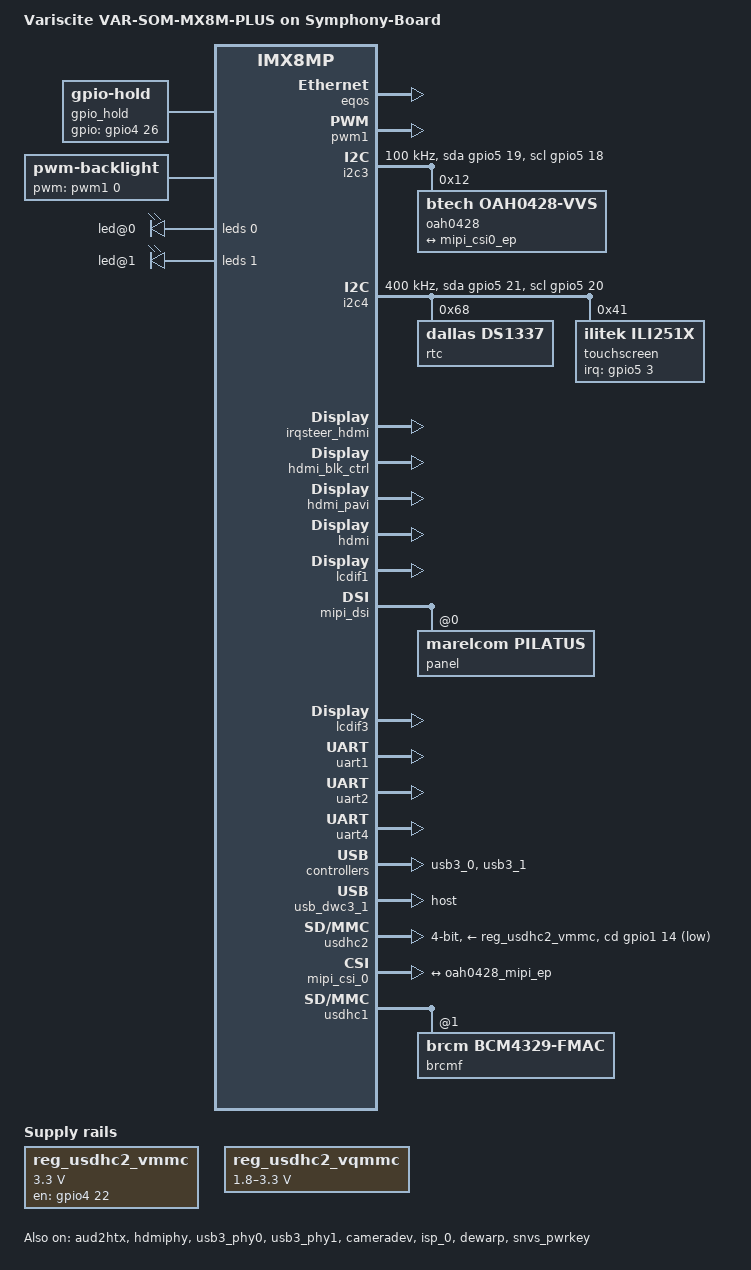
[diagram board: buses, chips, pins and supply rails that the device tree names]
// SPDX-License-Identifier: (GPL-2.0+ OR MIT)
/*
 * Copyright 2019 NXP
 * Copyright 2020-2021 Variscite Ltd.
 */

#include <dt-bindings/leds/common.h>
#include "imx8mp-var-som.dtsi"
#include "imx8mp-nxp-display.dtsi"
#include "imx8mp-nxp-capture.dtsi"

/ {
	model = "Variscite VAR-SOM-MX8M-PLUS on Symphony-Board";
	compatible = "variscite,var-som-mx8mp", "fsl,imx8mp";

	chosen {
		stdout-path = &uart2;
	};

	reg_usdhc2_vmmc: regulator-usdhc2-vmmc {
		compatible = "regulator-fixed";
		regulator-name = "VSD_3V3";
		regulator-min-microvolt = <3300000>;
		regulator-max-microvolt = <3300000>;
		gpio = <&gpio4 22 GPIO_ACTIVE_HIGH>;
		enable-active-high;
		startup-delay-us = <100>;
		off-on-delay-us = <12000>;
	};

	reg_usdhc2_vqmmc: regulator-usdhc2-vqmmc {
		compatible = "regulator-gpio";
		regulator-name = "VSD_VSEL";
		regulator-min-microvolt = <1800000>;
		regulator-max-microvolt = <3300000>;
		gpio = <&gpio2 12 GPIO_ACTIVE_HIGH>;
		gpios-states = <1>;
		states = <3300000 0
			  1800000 1>;
	};

  gpio_hold: gpio-hold {
    compatible = "gpio-hold";
    pinctrl-names = "default";
    pinctrl-0 = <&pinctrl_hold>;
    gpio = <&gpio4 26 GPIO_ACTIVE_HIGH>;
    status = "okay";
  };

  
	backlight: backlight {
		compatible = "pwm-backlight";
		pwms = <&pwm1 0 10000 0>;
		status = "okay";

		brightness-levels = < 0  1  2  3  4  5  6  7  8  9
				     10 11 12 13 14 15 16 17 18 19
				     20 21 22 23 24 25 26 27 28 29
				     30 31 32 33 34 35 36 37 38 39
				     40 41 42 43 44 45 46 47 48 49
				     50 51 52 53 54 55 56 57 58 59
				     60 61 62 63 64 65 66 67 68 69
				     70 71 72 73 74 75 76 77 78 79
				     80 81 82 83 84 85 86 87 88 89
				     90 91 92 93 94 95 96 97 98 99
				    100>;
		default-brightness-level = <80>;
	};

};

/*
 * NVCC_SD2 (LDO5) also powers the SD2_WP pad, which is GPIO2_IO20 and
 * switches the Ethernet PHY supply (reg_phy_supply). Without a consumer
 * the regulator core turns LDO5 off 30s after boot, cutting the PHY.
 */
&ldo5 {
	regulator-always-on;
	regulator-boot-on;
};

&eqos {
	status = "disabled";
};

&snvs_rtc {
	status = "disabled";
};

&aud2htx {
	status = "okay";
};

&pwm1 {
	pinctrl-names = "default";
	pinctrl-0 = <&pinctrl_pwm1>;
	status = "okay";
};

&flexspi {
	pinctrl-names = "default";
	pinctrl-0 = <&pinctrl_flexspi0>;
	status = "disabled";
};

&i2c3 {
	clock-frequency = <100000>;
	pinctrl-names = "default", "gpio";
	pinctrl-0 = <&pinctrl_i2c3>;
	pinctrl-1 = <&pinctrl_i2c3_gpio>;
	scl-gpios = <&gpio5 18 GPIO_ACTIVE_HIGH>;
	sda-gpios = <&gpio5 19 GPIO_ACTIVE_HIGH>;
	status = "okay";


  oah0428: oah0428@12 { //@036
		compatible = "btech,oah0428-vvs";
		/* compatible = "btech,oah0428"; */
		reg = <0x12>; //0x36
		clocks = <&clk IMX8MP_CLK_IPP_DO_CLKO2>;
		clock-names = "csi_mclk";
		csi_id = <0>;
		mclk = <24000000>;
		mclk_source = <0>;
		mipi_csi;
		status = "okay";

		port {
			oah0428_mipi_ep: endpoint {
				remote-endpoint = <&mipi_csi0_ep>;
				data-lanes = <1 2>;
				clock-lanes = <0>;

			};
		};
	};


};


&i2c4 {
	clock-frequency = <400000>;
	pinctrl-names = "default", "gpio";
	pinctrl-0 = <&pinctrl_i2c4>;
	pinctrl-1 = <&pinctrl_i2c4_gpio>;
	scl-gpios = <&gpio5 20 GPIO_ACTIVE_HIGH>;
	sda-gpios = <&gpio5 21 GPIO_ACTIVE_HIGH>;
	status = "okay";

	/* DS1337 RTC module */
	rtc@68 {
		compatible = "dallas,ds1337";
		reg = <0x68>;
		status = "okay";
	};

	touchscreen@41 {
		compatible = "ilitek,ili251x";
		reg = <0x41>;
		pinctrl-0 = <&pinctrl_captouch>;
		interrupt-parent = <&gpio5>;
		interrupts = <3 IRQ_TYPE_EDGE_FALLING>;
    touchscreen-swapped-x-y;
    touchscreen-inverted-y;
	};
};


&irqsteer_hdmi {
	status = "okay";
};

&hdmi_blk_ctrl {
	status = "okay";
};

&hdmi_pavi {
	status = "okay";
};

&hdmi {
	status = "okay";
};

&hdmiphy {
	status = "okay";
};

/* MIPI-DSI */
&lcdif1 {
	status = "okay";
};

&mipi_dsi {
	status = "okay";
	panel@0 {
	
		compatible = "marelcom,pilatus";
		reg = <0>;
		dsi-lanes = <4>;
		video-mode = <2>;	/* 0: burst mode
					 * 1: non-burst mode with sync event
					 * 2: non-burst mode with sync pulse
					 */
		/*no-init*;*/
		status = "okay";
	};
};

/* LVDS */
&lcdif2 {
	status = "disabled";
};

&ldb {
	status = "disabled";
};

&ldb_phy {
	status = "disabled";
};

/* HDMI */
&lcdif3 {
	status = "okay";
	thres-low  = <1 2>;	/* (FIFO * 1 / 2) */
	thres-high = <3 4>;	/* (FIFO * 3 / 4) */
};

/* Header */
&uart1 {
	pinctrl-names = "default";
	pinctrl-0 = <&pinctrl_uart1>;
	status = "okay";
};

/* Console */
&uart2 {
	pinctrl-names = "default";
	pinctrl-0 = <&pinctrl_uart2>;
	status = "okay";
};

/* Header */
&uart4 {
	pinctrl-names = "default";
	pinctrl-0 = <&pinctrl_uart4>;
	status = "okay";
};

&usb3_phy0 {
	fsl,phy-tx-vref-tune = <0xe>;
	fsl,phy-tx-preemp-amp-tune = <3>;
	fsl,phy-tx-vboost-level = <5>;
	fsl,phy-comp-dis-tune = <7>;
	fsl,pcs-tx-deemph-3p5db = <0x21>;
	fsl,phy-pcs-tx-swing-full = <0x7f>;
	status = "okay";
};

&usb3_0 {
	status = "okay";
};


&usb3_phy1 {
	fsl,phy-tx-preemp-amp-tune = <3>;
	fsl,phy-tx-vref-tune = <0xb>;
	status = "okay";
};

&usb3_1 {
	status = "okay";
};

&usb_dwc3_1 {
	dr_mode = "host";
	status = "okay";
};

&usdhc2 {
	pinctrl-names = "default", "state_100mhz", "state_200mhz";
	pinctrl-0 = <&pinctrl_usdhc2>, <&pinctrl_usdhc2_gpio>;
	pinctrl-1 = <&pinctrl_usdhc2_100mhz>, <&pinctrl_usdhc2_gpio>;
	pinctrl-2 = <&pinctrl_usdhc2_200mhz>, <&pinctrl_usdhc2_gpio>;
	cd-gpios = <&gpio1 14 GPIO_ACTIVE_LOW>;
	vmmc-supply = <&reg_usdhc2_vmmc>;
	vqmmc-supply = <&reg_usdhc2_vqmmc>;
	bus-width = <4>;
	status = "okay";
};

&mipi_csi_0 {
	#address-cells = <1>;
	#size-cells = <0>;
	status = "okay";

	port@0 {
		reg = <0>;
		mipi_csi0_ep: endpoint {
			remote-endpoint = <&oah0428_mipi_ep>;
			data-lanes = <2>;
			csis-hs-settle = <13>;
			csis-clk-settle = <2>;
			csis-wclk;
		};
	};
};

&mipi_csi_1 {
	status = "disabled";
};

&cameradev {
	status = "okay";
};

&isi_0 {
	status = "disabled";

	/* cap_device { */
	/* 	status = "okay"; */
	/* }; */
	/**/
	/* m2m_device { */
	/* 	status = "disabled"; */
	/* }; */
};

&isp_0 {
	status = "okay";
};

&isi_1 {
	status = "disabled";
};

&dewarp {
	status = "okay";
};


&bluetooth_iw61x {
	status = "disabled";
};

&iw61x_pwrseq {
	status = "disabled";
};

/* WIFI */
&usdhc1 {
	#address-cells = <1>;
	#size-cells = <0>;
	mmc-pwrseq = <>;

	brcmf: bcrmf@1 {
		reg = <1>;
		compatible = "brcm,bcm4329-fmac";
		laird,regdomain = "US";
	};
};

&eqos {
	status = "okay";
};

&ethphy0 {
	leds {
		#address-cells = <1>;
		#size-cells = <0>;

		led@0 {
			reg = <0>;
			color = <LED_COLOR_ID_YELLOW>;
			function = LED_FUNCTION_LAN;
			linux,default-trigger = "netdev";
		};

		led@1 {
			reg = <1>;
			color = <LED_COLOR_ID_GREEN>;
			function = LED_FUNCTION_LAN;
			linux,default-trigger = "netdev";
		};
	};
};



&iomuxc {
	pinctrl-names = "default";
	pinctrl-0 = <&pinctrl_hog>;

	pinctrl_hog: hoggrp {
		fsl,pins = <
			MX8MP_IOMUXC_GPIO1_IO13__GPIO1_IO13		0x19 /* CAM_ON 1350 */
			MX8MP_IOMUXC_GPIO1_IO11__GPIO1_IO11		0x19 /* LOOP_RUN */
      MX8MP_IOMUXC_GPIO1_IO05__GPIO1_IO05		0x19 /* FPD_PDB */
			MX8MP_IOMUXC_GPIO1_IO06__GPIO1_IO06		0x19 /* 100 DegreeC */
			MX8MP_IOMUXC_SAI2_RXFS__GPIO4_IO21		0x19 /* #SLEEP */
			MX8MP_IOMUXC_ECSPI2_SS0__GPIO5_IO13		0x19 /* #PB_KEY */
			MX8MP_IOMUXC_ECSPI2_SCLK__GPIO5_IO10		0x159 /* #HW_ID0 */
			MX8MP_IOMUXC_ECSPI2_MOSI__GPIO5_IO11		0x159 /* #HW_ID1 */
			MX8MP_IOMUXC_GPIO1_IO01__GPIO1_IO01		0x159 /* #BTOR*/
			MX8MP_IOMUXC_HDMI_DDC_SCL__HDMIMIX_HDMI_SCL			0x400001c2
			MX8MP_IOMUXC_HDMI_DDC_SDA__HDMIMIX_HDMI_SDA			0x400001c2
			MX8MP_IOMUXC_HDMI_HPD__HDMIMIX_HDMI_HPD				0x40000010
			MX8MP_IOMUXC_HDMI_CEC__HDMIMIX_HDMI_CEC				0x40000010
		>;
	};
  
	pinctrl_hold: holdgrp {
		fsl,pins = <
			MX8MP_IOMUXC_SAI2_TXD0__GPIO4_IO26				0x19
		>;
	};

	pinctrl_fuel_gauge: fuelgaugegrp {
		fsl,pins = <
			/* CHRG_INT */
			MX8MP_IOMUXC_SAI2_RXD0__GPIO4_IO23	0x80
		>;
	};

	pinctrl_charger_in: chargeringrp {
		fsl,pins = <
			/* CHRG_INT */
			MX8MP_IOMUXC_SAI2_TXFS__GPIO4_IO24	0x80
		>;
	};

	pinctrl_pwm1: pwm1grp {
		fsl,pins = <
			MX8MP_IOMUXC_SPDIF_EXT_CLK__PWM1_OUT				0x116
		>;
	};

	pinctrl_flexspi0: flexspi0grp {
		fsl,pins = <
			MX8MP_IOMUXC_NAND_ALE__FLEXSPI_A_SCLK				0x1c2
			MX8MP_IOMUXC_NAND_CE0_B__FLEXSPI_A_SS0_B			0x82
			MX8MP_IOMUXC_NAND_DATA00__FLEXSPI_A_DATA00			0x82
			MX8MP_IOMUXC_NAND_DATA01__FLEXSPI_A_DATA01			0x82
			MX8MP_IOMUXC_NAND_DATA02__FLEXSPI_A_DATA02			0x82
			MX8MP_IOMUXC_NAND_DATA03__FLEXSPI_A_DATA03			0x82
		>;
	};

	pinctrl_i2c3: i2c3grp {
		fsl,pins = <
			MX8MP_IOMUXC_I2C3_SCL__I2C3_SCL					0x400001c2
			MX8MP_IOMUXC_I2C3_SDA__I2C3_SDA					0x400001c2
		>;
	};

	pinctrl_i2c4: i2c4grp {
		fsl,pins = <
			MX8MP_IOMUXC_I2C4_SCL__I2C4_SCL					0x400001c2
			MX8MP_IOMUXC_I2C4_SDA__I2C4_SDA					0x400001c2
		>;
	};

	pinctrl_i2c3_gpio: i2c3gpiogrp {
		fsl,pins = <
			MX8MP_IOMUXC_I2C3_SCL__GPIO5_IO18				0x1c2
			MX8MP_IOMUXC_I2C3_SDA__GPIO5_IO19				0x1c2
		>;
	};

	pinctrl_i2c4_gpio: i2c4gpiogrp {
		fsl,pins = <
			MX8MP_IOMUXC_I2C4_SCL__GPIO5_IO20				0x1c2
			MX8MP_IOMUXC_I2C4_SDA__GPIO5_IO21				0x1c2
		>;
	};

	pinctrl_uart1: uart1grp {
		fsl,pins = <
			MX8MP_IOMUXC_UART1_RXD__UART1_DCE_RX				0x40
			MX8MP_IOMUXC_UART1_TXD__UART1_DCE_TX				0x40
		>;
	};

	pinctrl_uart2: uart2grp {
		fsl,pins = <
			MX8MP_IOMUXC_UART2_RXD__UART2_DCE_RX				0x40
			MX8MP_IOMUXC_UART2_TXD__UART2_DCE_TX				0x40
		>;
	};

	pinctrl_uart3: uart3grp {
		fsl,pins = <
			MX8MP_IOMUXC_ECSPI1_SCLK__UART3_DCE_RX				0x140
			MX8MP_IOMUXC_ECSPI1_MOSI__UART3_DCE_TX				0x140
			MX8MP_IOMUXC_ECSPI1_MISO__UART3_DCE_CTS				0x140
			MX8MP_IOMUXC_ECSPI1_SS0__UART3_DCE_RTS				0x140
		>;
	};

	pinctrl_uart4: uart4grp {
		fsl,pins = <
			MX8MP_IOMUXC_UART4_RXD__UART4_DCE_RX				0x40
			MX8MP_IOMUXC_UART4_TXD__UART4_DCE_TX				0x40
		>;
	};

	pinctrl_usdhc2_gpio: usdhc2grp-gpio {
		fsl,pins = <
			MX8MP_IOMUXC_GPIO1_IO14__GPIO1_IO14 				0x1c4
			MX8MP_IOMUXC_SAI2_RXC__GPIO4_IO22				0x10
			MX8MP_IOMUXC_SD2_CD_B__GPIO2_IO12				0xc0
		>;
	};

	pinctrl_usdhc2: usdhc2grp {
		fsl,pins = <
			MX8MP_IOMUXC_SD2_CLK__USDHC2_CLK				0x190
			MX8MP_IOMUXC_SD2_CMD__USDHC2_CMD				0x1d0
			MX8MP_IOMUXC_SD2_DATA0__USDHC2_DATA0				0x1d0
			MX8MP_IOMUXC_SD2_DATA1__USDHC2_DATA1				0x1d0
			MX8MP_IOMUXC_SD2_DATA2__USDHC2_DATA2				0x1d0
			MX8MP_IOMUXC_SD2_DATA3__USDHC2_DATA3				0x1d0
		>;
	};

	pinctrl_usdhc2_100mhz: usdhc2grp-100mhz {
		fsl,pins = <
			MX8MP_IOMUXC_SD2_CLK__USDHC2_CLK				0x194
			MX8MP_IOMUXC_SD2_CMD__USDHC2_CMD				0x1d4
			MX8MP_IOMUXC_SD2_DATA0__USDHC2_DATA0				0x1d4
			MX8MP_IOMUXC_SD2_DATA1__USDHC2_DATA1				0x1d4
			MX8MP_IOMUXC_SD2_DATA2__USDHC2_DATA2				0x1d4
			MX8MP_IOMUXC_SD2_DATA3__USDHC2_DATA3				0x1d4
		>;
	};

	pinctrl_usdhc2_200mhz: usdhc2grp-200mhz {
		fsl,pins = <
			MX8MP_IOMUXC_SD2_CLK__USDHC2_CLK				0x196
			MX8MP_IOMUXC_SD2_CMD__USDHC2_CMD				0x1d6
			MX8MP_IOMUXC_SD2_DATA0__USDHC2_DATA0				0x1d6
			MX8MP_IOMUXC_SD2_DATA1__USDHC2_DATA1				0x1d6
			MX8MP_IOMUXC_SD2_DATA2__USDHC2_DATA2				0x1d6
			MX8MP_IOMUXC_SD2_DATA3__USDHC2_DATA3				0x1d6
		>;
	};

	pinctrl_captouch: captouchgrp {
		fsl,pins = <
			MX8MP_IOMUXC_SPDIF_TX__GPIO5_IO03 				0x16
		>;
	};

	pinctrl_extcon: extcongrp {
		fsl,pins = <
			MX8MP_IOMUXC_GPIO1_IO05__GPIO1_IO05				0x10
		>;
	};

	pinctrl_csi0: csi0grp {
		fsl,pins = <
			MX8MP_IOMUXC_GPIO1_IO00__GPIO1_IO00				0x10
			>;
	};

	pinctrl_csi1: csi1grp {
		fsl,pins = <
			MX8MP_IOMUXC_SAI1_RXD7__GPIO4_IO09				0x10
			MX8MP_IOMUXC_SAI1_TXD0__GPIO4_IO12				0x10
			>;
	};

};

/* enabled by imx8mp-var-som.dtsi on 6.6, board files enable it on 6.18 */
&snvs_pwrkey {
	status = "okay";
};
